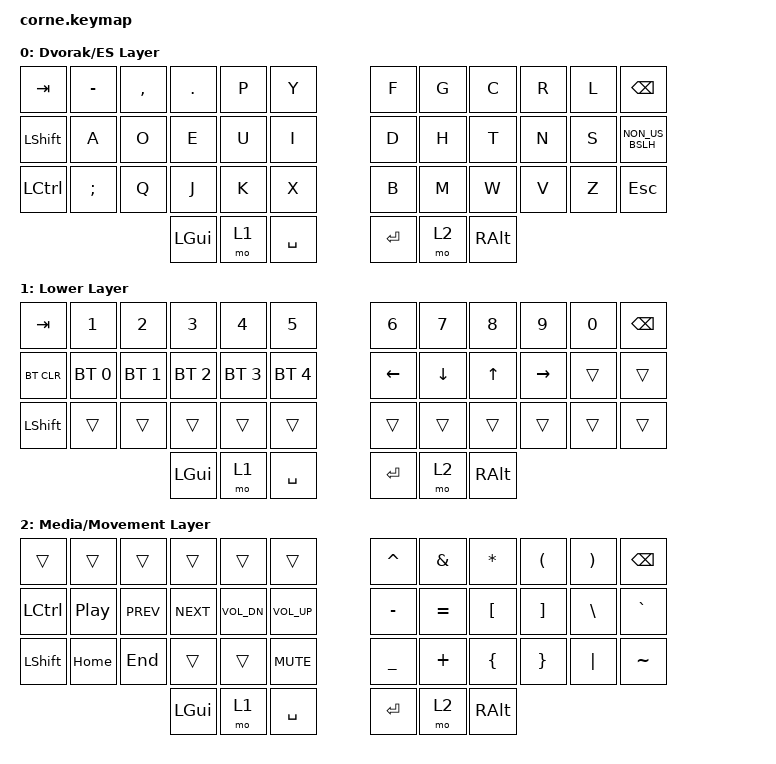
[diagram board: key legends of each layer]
#include <behaviors.dtsi>
#include <dt-bindings/zmk/keys.h>
#include <dt-bindings/zmk/bt.h>
#include <dt-bindings/zmk/hid_usage.h>

/ {
    keymap {
        compatible = "zmk,keymap";

        default_layer {
            display-name = "Dvorak/ES Layer";
            bindings = <
&kp TAB &kp MINUS &kp COMMA &kp DOT &kp P &kp Y &kp F &kp G &kp C &kp R &kp L &kp BSPC
&kp LSHFT &kp A &kp O &kp E &kp U &kp I &kp D &kp H &kp T &kp N &kp S &kp NON_US_BSLH
&kp LCTRL &kp SEMI &kp Q &kp J &kp K &kp X &kp B &kp M &kp W &kp V &kp Z &kp ESC
&kp LGUI &mo 1 &kp SPACE &kp RET &mo 2 &kp RALT
            >;
        };

        lower_layer {
            display-name = "Lower Layer";
            bindings = <
&kp TAB &kp N1 &kp N2 &kp N3 &kp N4 &kp N5 &kp N6 &kp N7 &kp N8 &kp N9 &kp N0 &kp BSPC
&bt BT_CLR &bt BT_SEL 0 &bt BT_SEL 1 &bt BT_SEL 2 &bt BT_SEL 3 &bt BT_SEL 4 &kp LEFT &kp DOWN &kp UP &kp RIGHT &trans
&trans &kp LSHFT &trans &trans &trans &trans &trans &trans &trans &trans &trans &trans &trans
&kp LGUI &mo 1 &kp SPACE &kp RET &mo 2 &kp RALT
            >;
        };

        raise_layer {
            display-name = "Media/Movement Layer";
            bindings = <
&trans &trans &trans &trans &trans &trans &kp CARET &kp AMPS &kp ASTRK &kp LPAR &kp RPAR &kp BSPC
&kp LCTRL &kp C_PLAY_PAUSE &kp C_PREV &kp C_NEXT &kp C_VOL_DN &kp C_VOL_UP &kp MINUS &kp EQUAL &kp LBKT &kp RBKT &kp BSLH &kp GRAVE
&kp LSHFT &kp HOME &kp END &trans &trans &kp C_MUTE &kp UNDER &kp PLUS &kp LBRC &kp RBRC &kp PIPE &kp TILDE
&kp LGUI &mo 1 &kp SPACE &kp RET &mo 2 &kp RALT
            >;
        };
    };
};
